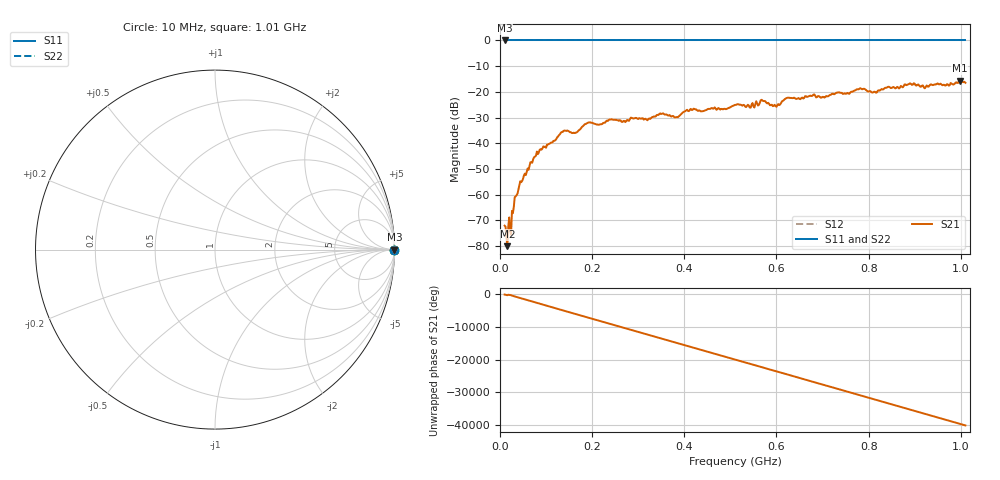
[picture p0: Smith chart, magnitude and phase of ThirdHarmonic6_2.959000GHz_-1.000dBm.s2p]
! 8/17/2025 8:20:44 AM
! C:\ANRITSUVNA\TEMP\TEMP.S2P
! CHANNEL.1
! TR.MEASUREMENT
! RAW.DATA
! RF.CORRECTION.OFF
! AVERAGING.OFF
! IF.BANDWIDTH: 5KHZ
! SWEEPTYPE:  FREQ.SWEEP(Linear)
! Reference Plane Port Info
! PORT:  PORT1  PORT2
! DISTANCE:  0  m  0  m
! TIME:  0  s  0  s
! PHASE.OFFSET:  0  deg.  0  deg.
! LOSS:  0  dB  0  dB
! REF.LOSS:  0  dB  0  dB
! REF.FREQ:  0  Hz  0  Hz
! Power Info
! POWER:  -20  dBm  -20  dBm
! EFF.POWER:  -20  dBm  -20  dBm
! SOURCE.ATTEN:  0  dB  0  dB
! TEST.ATTEN:  0  dB  0  dB
# GHZ S RI R 50.0
! FREQ.GHZ  S11RE  S11IM  S21RE  S21IM  S12RE  S12IM  S22RE  S22IM
!; PortSelection: Port_12
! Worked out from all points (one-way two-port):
!   501 points, 10 MHz to 1.01 GHz, reference 50 ohm
!   highest |S21| = -15.62 dB at 998 MHz (marker M1); lowest = -80.1 dB at 16 MHz (marker M2)
!   lowest |S11| = 0.0 dB at 10 MHz (marker M3)
!   |S11| at or under -10 dB: nowhere
!   |S22| runs from 0.0 to 0.0 dB; largest |S21 - S12| = 1.1
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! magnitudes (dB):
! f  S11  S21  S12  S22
! 10 MHz  0.0  -72.1  0.0  0.0
! 16 MHz  0.0  -80.1  0.0  0.0
! 20 MHz  0.0  -68.9  0.0  0.0
! 26 MHz  0.0  -66.3  0.0  0.0
! 30 MHz  0.0  -64.7  0.0  0.0
! 44 MHz  0.0  -54.8  0.0  0.0
! 76 MHz  0.0  -45.2  0.0  0.0
! 136 MHz  0.0  -35.6  0.0  0.0
! 162 MHz  0.0  -36.1  0.0  0.0
! 178 MHz  0.0  -33.6  0.0  0.0
! 344 MHz  0.0  -29.0  0.0  0.0
! 382 MHz  0.0  -29.9  0.0  0.0
! 416 MHz  0.0  -27.1  0.0  0.0
! 510 MHz  0.0  -25.1  0.0  0.0
! 548 MHz  0.0  -24.4  0.0  0.0
! 570 MHz  0.0  -23.5  0.0  0.0
! 596 MHz  0.0  -25.0  0.0  0.0
! 624 MHz  0.0  -22.3  0.0  0.0
! 678 MHz  0.0  -21.6  0.0  0.0
! 844 MHz  0.0  -18.0  0.0  0.0
! 998 MHz  0.0  -15.6  0.0  0.0
! 1.01 GHz  0.0  -16.5  0.0  0.0
